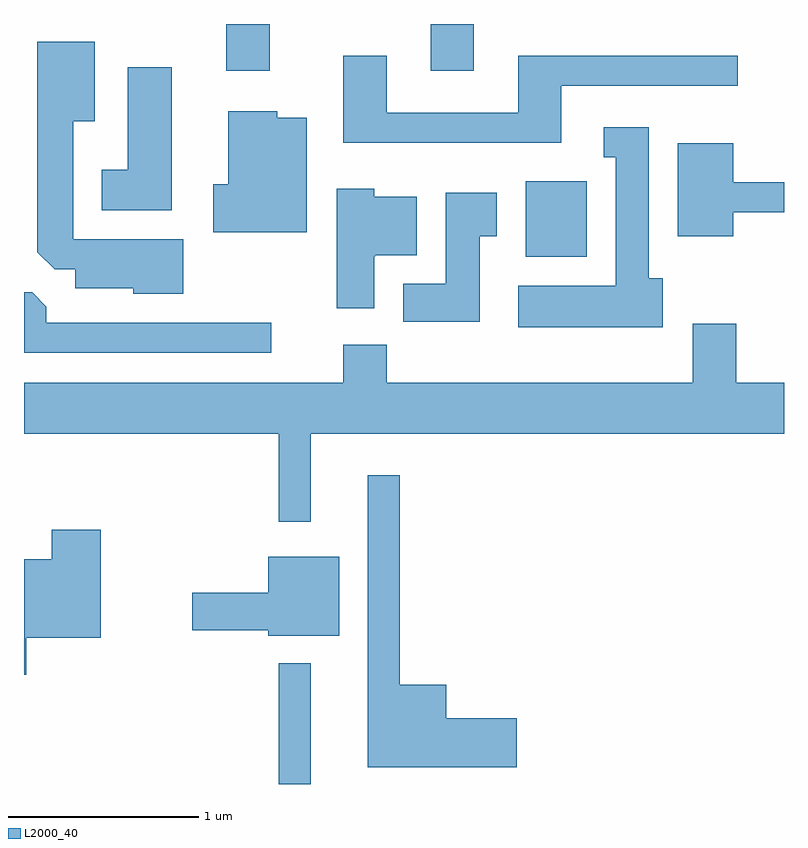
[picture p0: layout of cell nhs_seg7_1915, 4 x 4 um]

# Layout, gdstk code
import gdstk
lib = gdstk.Library(unit=1e-6, precision=1e-09)
def R(c, l, rs):  # rectangles x0, y0, x1, y1
    for r in rs: c.add(gdstk.rectangle(r[:2], r[2:], *l))
def P(c, l, *ps):  # polygons
    for p in ps: c.add(gdstk.Polygon(p, *l))
L2000_40 = (2000, 40)

nhs_seg7_1915 = lib.new_cell('nhs_seg7_1915')
R(nhs_seg7_1915, L2000_40, [(244.951,1710.252,245.119,1710.888), (246.251,1713.026,246.574,1713.424), (244.676,1714.006,244.904,1714.252), (245.751,1714.006,245.979,1714.252)])
P(nhs_seg7_1915, L2000_40, [(244.449,1713.119),(243.869,1713.119),(243.869,1713.741),(243.984,1713.741),(243.984,1714.159),(243.681,1714.159),(243.681,1713.052),(243.772,1712.961),(243.881,1712.961),(243.881,1712.861),(244.186,1712.861),(244.186,1712.831),(244.449,1712.831)],
  [(246.439,1713.926),(247.368,1713.926),(247.368,1714.084),(246.211,1714.084),(246.211,1713.784),(245.519,1713.784),(245.519,1714.084),(245.291,1714.084),(245.291,1713.626),(246.439,1713.626)],
  [(244.389,1714.024),(244.156,1714.024),(244.156,1713.484),(244.021,1713.484),(244.021,1713.271),(244.389,1713.271)],
  [(245.099,1713.759),(244.944,1713.759),(244.944,1713.794),(244.686,1713.794),(244.686,1713.409),(244.606,1713.409),(244.606,1713.156),(245.099,1713.156)],
  [(246.974,1712.914),(246.899,1712.914),(246.899,1713.709),(246.663,1713.709),(246.663,1713.551),(246.726,1713.551),(246.726,1712.874),(246.211,1712.874),(246.211,1712.656),(246.974,1712.656)],
  [(247.344,1713.261),(247.611,1713.261),(247.611,1713.419),(247.344,1713.419),(247.344,1713.624),(247.051,1713.624),(247.051,1713.136),(247.344,1713.136)],
  [(245.454,1713.03),(245.46,1713.03),(245.46,1713.036),(245.679,1713.036),(245.679,1713.344),(245.454,1713.344),(245.454,1713.384),(245.256,1713.384),(245.256,1712.756),(245.454,1712.756)],
  [(246.009,1713.136),(246.099,1713.136),(246.099,1713.364),(245.831,1713.364),(245.831,1712.884),(245.606,1712.884),(245.606,1712.686),(246.009,1712.686)],
  [(244.913,1712.679),(243.729,1712.679),(243.729,1712.764),(243.654,1712.839),(243.611,1712.839),(243.611,1712.521),(244.913,1712.521)],
  [(245.119,1712.096),(247.611,1712.096),(247.611,1712.364),(247.359,1712.364),(247.359,1712.674),(247.131,1712.674),(247.131,1712.364),(245.519,1712.364),(245.519,1712.564),(245.291,1712.564),(245.291,1712.364),(243.611,1712.364),(243.611,1712.096),(244.951,1712.096),(244.951,1711.633),(245.119,1711.633)],
  [(246.204,1710.599),(245.834,1710.599),(245.834,1710.774),(245.589,1710.774),(245.589,1711.878),(245.421,1711.878),(245.421,1710.341),(246.204,1710.341)],
  [(243.624,1711.021),(244.014,1711.021),(244.014,1711.589),(243.756,1711.589),(243.756,1711.434),(243.611,1711.434),(243.611,1710.826),(243.624,1710.826)],
  [(245.269,1711.449),(244.896,1711.449),(244.896,1711.259),(244.496,1711.259),(244.496,1711.061),(244.896,1711.061),(244.896,1711.031),(245.269,1711.031)])

lib.write_gds('nhs_seg7_1915.gds')
